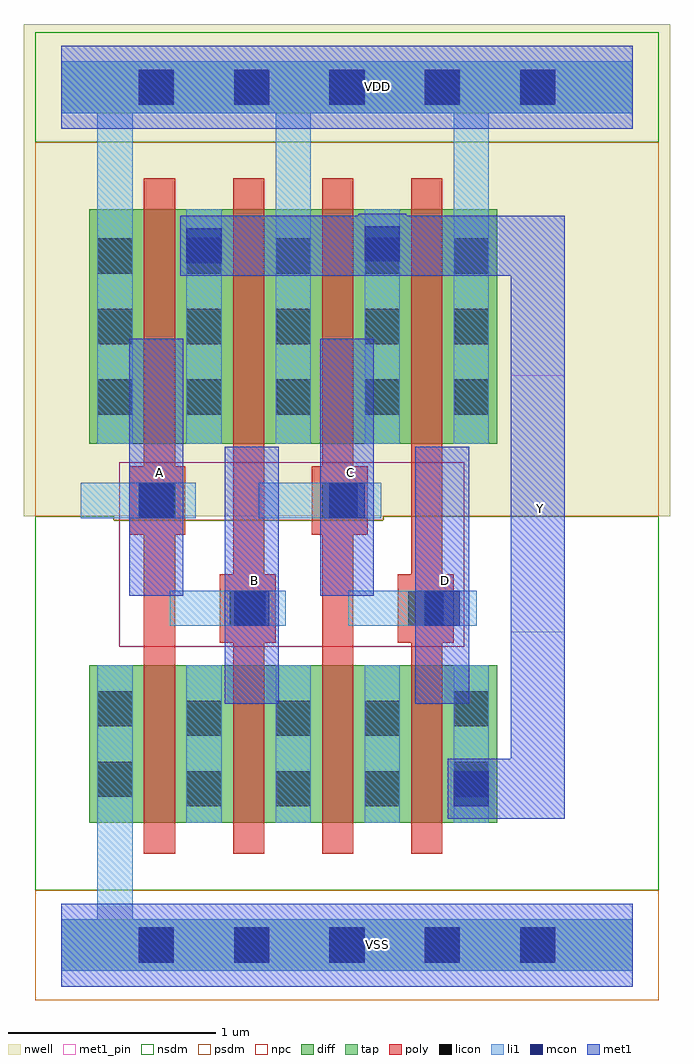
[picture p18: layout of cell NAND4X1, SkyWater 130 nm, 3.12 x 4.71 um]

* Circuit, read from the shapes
.subckt NAND4X1 A B C D VDD VSS Y
XM1 n1 A VSS VSS sky130_fd_pr__nfet_01v8 w=0.76 l=0.15
XM2 n2 B n1 VSS sky130_fd_pr__nfet_01v8 w=0.76 l=0.15
XM3 n3 C n2 VSS sky130_fd_pr__nfet_01v8 w=0.76 l=0.15
XM4 Y D n3 VSS sky130_fd_pr__nfet_01v8 w=0.76 l=0.15
XM5 Y A VDD VDD sky130_fd_pr__pfet_01v8 w=1.13 l=0.15
XM6 VDD B Y VDD sky130_fd_pr__pfet_01v8 w=1.13 l=0.15
XM7 Y C VDD VDD sky130_fd_pr__pfet_01v8 w=1.13 l=0.15
XM8 VDD D Y VDD sky130_fd_pr__pfet_01v8 w=1.13 l=0.15
.ends

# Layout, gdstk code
from math import pi, radians
import gdstk
lib = gdstk.Library(unit=1e-6, precision=1e-09)
def R(c, l, rs):  # rectangles x0, y0, x1, y1
    for r in rs: c.add(gdstk.rectangle(r[:2], r[2:], *l))
def A(c, l, x, y, w, h, nx, ny, dx, dy):  # array of equal rectangles
    R(c, l, [(x+i*dx, y+j*dy, x+i*dx+w, y+j*dy+h) for i in range(nx) for j in range(ny)])
def P(c, l, *ps):  # polygons
    for p in ps: c.add(gdstk.Polygon(p, *l))
nwell = (64, 20)
diff = (65, 20)
tap = (65, 44)
poly = (66, 20)
licon = (66, 44)
li1 = (67, 20)
mcon = (67, 44)
met1_pin = (68, 16)
met1 = (68, 20)
nsdm = (93, 44)
psdm = (94, 20)
npc = (95, 20)

pfet_01v8_cdns_716492285 = lib.new_cell('pfet_01v8_CDNS_71649228522145')
R(pfet_01v8_cdns_716492285, nwell, [(-0.445,-0.18,0.385,1.31)])
R(pfet_01v8_cdns_716492285, diff, [(-0.265,0,0,1.13), (0,0,0.15,1.13), (0.15,0,0.205,1.13)])
R(pfet_01v8_cdns_716492285, poly, [(0,-0.15,0.15,-0.095), (0,-0.095,0.15,0), (0,0,0.15,1.13), (0,1.13,0.15,1.225), (0,1.225,0.15,1.28)])
A(pfet_01v8_cdns_716492285, licon, -0.225, 0.14, 0.17, 0.17, 1, 3, 0, 0.34)
R(pfet_01v8_cdns_716492285, li1, [(-0.225,0,-0.055,1.13)])
R(pfet_01v8_cdns_716492285, psdm, [(-0.405,-0.13,0.215,1.26)])

nfet_01v8_cdns_716492285 = lib.new_cell('nfet_01v8_CDNS_71649228522146')
R(nfet_01v8_cdns_716492285, diff, [(-0.055,0,0,0.76), (0,0,0.15,0.76), (0.15,0,0.415,0.76)])
R(nfet_01v8_cdns_716492285, poly, [(0,-0.15,0.15,-0.095), (0,-0.095,0.15,0), (0,0,0.15,0.76), (0,0.76,0.15,0.855), (0,0.855,0.15,0.91)])
R(nfet_01v8_cdns_716492285, licon, [(0.205,0.125,0.375,0.295), (0.205,0.465,0.375,0.635)])
R(nfet_01v8_cdns_716492285, li1, [(0.205,0,0.375,0.76)])
R(nfet_01v8_cdns_716492285, nsdm, [(-0.065,-0.13,0.555,0.89)])

c_nfet_01v8_cdns_716492285 = lib.new_cell('nfet_01v8_CDNS_71649228522165')
R(c_nfet_01v8_cdns_716492285, diff, [(-0.265,0,0,0.76), (0,0,0.15,0.76), (0.15,0,0.375,0.76)])
R(c_nfet_01v8_cdns_716492285, poly, [(0,-0.15,0.15,-0.095), (0,-0.095,0.15,0), (0,0,0.15,0.76), (0,0.76,0.15,0.855), (0,0.855,0.15,0.91)])
R(c_nfet_01v8_cdns_716492285, licon, [(-0.225,0.125,-0.055,0.295), (-0.225,0.465,-0.055,0.635)])
R(c_nfet_01v8_cdns_716492285, li1, [(-0.225,0,-0.055,0.76)])
R(c_nfet_01v8_cdns_716492285, nsdm, [(-0.405,-0.13,0.385,0.89)])

c_pfet_01v8_cdns_716492285 = lib.new_cell('pfet_01v8_CDNS_71649228522166')
R(c_pfet_01v8_cdns_716492285, nwell, [(-0.405,-0.18,0.555,1.31)])
R(c_pfet_01v8_cdns_716492285, diff, [(-0.225,0,0,1.13), (0,0,0.15,1.13), (0.15,0,0.375,1.13)])
R(c_pfet_01v8_cdns_716492285, poly, [(0,-0.15,0.15,-0.095), (0,-0.095,0.15,0), (0,0,0.15,1.13), (0,1.13,0.15,1.225), (0,1.225,0.15,1.28)])
A(c_pfet_01v8_cdns_716492285, licon, -0.225, 0.14, 0.17, 0.17, 1, 3, 0, 0.34)
A(c_pfet_01v8_cdns_716492285, licon, 0.205, 0.14, 0.17, 0.17, 1, 3, 0, 0.34)
R(c_pfet_01v8_cdns_716492285, li1, [(-0.225,0,-0.055,1.13), (0.205,0,0.375,1.13)])
R(c_pfet_01v8_cdns_716492285, psdm, [(-0.235,-0.13,0.385,1.26)])

c_pfet_01v8_cdns_716492285_ = lib.new_cell('pfet_01v8_CDNS_7164922852270')
R(c_pfet_01v8_cdns_716492285_, nwell, [(-0.235,-0.18,0.385,1.31)])
R(c_pfet_01v8_cdns_716492285_, diff, [(-0.055,0,0,1.13), (0,0,0.15,1.13), (0.15,0,0.205,1.13)])
R(c_pfet_01v8_cdns_716492285_, poly, [(0,-0.15,0.15,-0.095), (0,-0.095,0.15,0), (0,0,0.15,1.13), (0,1.13,0.15,1.225), (0,1.225,0.15,1.28)])
R(c_pfet_01v8_cdns_716492285_, psdm, [(-0.065,-0.13,0.215,1.26)])

c_nfet_01v8_cdns_716492285_ = lib.new_cell('nfet_01v8_CDNS_71649228522152')
R(c_nfet_01v8_cdns_716492285_, diff, [(-0.055,0,0,0.76), (0,0,0.15,0.76), (0.15,0,0.375,0.76)])
R(c_nfet_01v8_cdns_716492285_, poly, [(0,-0.15,0.15,-0.095), (0,-0.095,0.15,0), (0,0,0.15,0.76), (0,0.76,0.15,0.855), (0,0.855,0.15,0.91)])
R(c_nfet_01v8_cdns_716492285_, nsdm, [(-0.065,-0.13,0.385,0.89)])

c_pfet_01v8_cdns_716492285__ = lib.new_cell('pfet_01v8_CDNS_7164922852274')
R(c_pfet_01v8_cdns_716492285__, nwell, [(-0.445,-0.18,0.555,1.31)])
R(c_pfet_01v8_cdns_716492285__, diff, [(-0.265,0,0,1.13), (0,0,0.15,1.13), (0.15,0,0.375,1.13)])
R(c_pfet_01v8_cdns_716492285__, poly, [(0,-0.15,0.15,-0.095), (0,-0.095,0.15,0), (0,0,0.15,1.13), (0,1.13,0.15,1.225), (0,1.225,0.15,1.28)])
A(c_pfet_01v8_cdns_716492285__, licon, -0.225, 0.14, 0.17, 0.17, 1, 3, 0, 0.34)
A(c_pfet_01v8_cdns_716492285__, licon, 0.205, 0.14, 0.17, 0.17, 1, 3, 0, 0.34)
R(c_pfet_01v8_cdns_716492285__, li1, [(-0.225,0,-0.055,1.13), (0.205,0,0.375,1.13)])
R(c_pfet_01v8_cdns_716492285__, psdm, [(-0.405,-0.13,0.385,1.26)])

l1m1_c_cdns_716492285222 = lib.new_cell('L1M1_C_CDNS_716492285222')
R(l1m1_c_cdns_716492285222, li1, [(-0.085,-0.165,0.085,0.165)])
R(l1m1_c_cdns_716492285222, mcon, [(-0.085,-0.085,0.085,0.085)])
R(l1m1_c_cdns_716492285222, met1, [(-0.115,-0.145,0.115,0.145)])

pyl1con_c_cdns_716492285 = lib.new_cell('PYL1CON_C_CDNS_716492285220')
R(pyl1con_c_cdns_716492285, poly, [(-0.135,-0.165,0.135,0.165)])
R(pyl1con_c_cdns_716492285, licon, [(-0.085,-0.085,0.085,0.085)])
R(pyl1con_c_cdns_716492285, npc, [(-0.185,-0.185,0.185,0.185)])

l1m1_c_cdns_716492285223 = lib.new_cell('L1M1_C_CDNS_716492285223')
R(l1m1_c_cdns_716492285223, li1, [(-0.165,-0.085,0.165,0.085)])
R(l1m1_c_cdns_716492285223, mcon, [(-0.085,-0.085,0.085,0.085)])
R(l1m1_c_cdns_716492285223, met1, [(-0.115,-0.145,0.115,0.145)])

nand4x1 = lib.new_cell('NAND4X1')
R(nand4x1, nwell, [(-0.18,2.07,2.94,4.305), (-0.18,3.875,2.94,4.445)])
A(nand4x1, licon, 0.375, -0.085, 0.17, 0.17, 5, 1, 0.46, 0)
A(nand4x1, licon, 0.605, 0.67, 0.17, 0.17, 3, 2, 0.43, 0.34)
R(nand4x1, licon, [(0.375,4.055,0.545,4.225), (0.375,4.055,0.545,4.225), (0.835,4.055,1.005,4.225), (0.835,4.055,1.005,4.225), (1.295,4.055,1.465,4.225), (1.295,4.055,1.465,4.225), (1.755,4.055,1.925,4.225), (1.755,4.055,1.925,4.225), (2.215,4.055,2.385,4.225), (2.215,4.055,2.385,4.225)])
A(nand4x1, li1, 0.605, 0.59, 0.17, 0.76, 3, 1, 0.43, 0)
A(nand4x1, mcon, 0.375, -0.085, 0.17, 0.17, 5, 1, 0.46, 0)
R(nand4x1, mcon, [(0.375,4.055,0.545,4.225), (0.375,4.055,0.545,4.225), (0.835,4.055,1.005,4.225), (0.835,4.055,1.005,4.225), (1.295,4.055,1.465,4.225), (1.295,4.055,1.465,4.225), (1.755,4.055,1.925,4.225), (1.755,4.055,1.925,4.225), (2.215,4.055,2.385,4.225), (2.215,4.055,2.385,4.225)])
R(nand4x1, met1_pin, [(0.79,1.165,1.05,2.405), (1.71,1.165,1.97,2.405), (2.17,1.51,2.43,2.75), (0.33,1.685,0.59,2.925), (1.25,1.685,1.51,2.925)])
R(nand4x1, nsdm, [(-0.125,3.875,2.885,4.405), (-0.125,3.875,2.885,4.405), (-0.125,3.93,2.885,4.35), (-0.125,3.93,2.885,4.35)])
P(nand4x1, nsdm, [(2.885,2.07),(1.555,2.07),(1.555,2.05),(0.255,2.05),(0.255,2.07),(-0.125,2.07),(-0.125,0.265),(2.885,0.265)])
R(nand4x1, psdm, [(-0.125,-0.265,2.885,0.265), (-0.125,-0.21,2.885,0.21)])
P(nand4x1, psdm, [(2.885,3.875),(-0.125,3.875),(-0.125,2.07),(0.255,2.07),(0.255,2.05),(1.555,2.05),(1.555,2.07),(2.885,2.07)])
R(nand4x1, npc, [(0.28,1.44,1.945,2.33)])
nand4x1.add(gdstk.FlexPath([(1.765,2.27),(1.765,1.5)], 0.15, ends="flush", simple_path=True, layer=66, datatype=20))  # poly
nand4x1.add(gdstk.FlexPath([(0.905,2.27),(0.905,1.475)], 0.15, ends="flush", simple_path=True, layer=66, datatype=20))  # poly
nand4x1.add(gdstk.FlexPath([(0.475,2.27),(0.475,1.48)], 0.15, ends="flush", simple_path=True, layer=66, datatype=20))  # poly
nand4x1.add(gdstk.FlexPath([(1.335,2.27),(1.335,1.43)], 0.15, ends="flush", simple_path=True, layer=66, datatype=20))  # poly
nand4x1.add(gdstk.FlexPath([(1.385,1.625),(1.94,1.625)], 0.17, ends="flush", simple_path=True, layer=67, datatype=20))  # li1
nand4x1.add(gdstk.FlexPath([(0.525,1.625),(1.08,1.625)], 0.17, ends="flush", simple_path=True, layer=67, datatype=20))  # li1
nand4x1.add(gdstk.FlexPath([(0.955,2.145),(1.51,2.145)], 0.17, ends="flush", simple_path=True, layer=67, datatype=20))  # li1
nand4x1.add(gdstk.FlexPath([(0.095,2.145),(0.65,2.145)], 0.17, ends="flush", simple_path=True, layer=67, datatype=20))  # li1
nand4x1.add(gdstk.FlexPath([(2.675,0),(0,0)], 0.25, ends=(0.085, 0), simple_path=True, layer=67, datatype=20))  # li1
nand4x1.add(gdstk.FlexPath([(2.675,4.14),(0,4.14)], 0.25, ends=(0.085, 0), simple_path=True, layer=67, datatype=20))  # li1
nand4x1.add(gdstk.FlexPath([(2.675,4.14),(0,4.14)], 0.25, ends=(0.085, 0), simple_path=True, layer=67, datatype=20))  # li1
nand4x1.add(gdstk.FlexPath([(0.26,0),(0.215,0)], 0.17, ends=(0.085, 0), simple_path=True, layer=67, datatype=20))  # li1
nand4x1.add(gdstk.FlexPath([(0.26,0.59),(0.26,0)], 0.17, ends=(0, 0.085), simple_path=True, layer=67, datatype=20))  # li1
nand4x1.add(gdstk.FlexPath([(1.98,4.14),(0.215,4.14)], 0.17, ends=(0.085, 0), simple_path=True, layer=67, datatype=20))  # li1
nand4x1.add(gdstk.FlexPath([(1.98,3.55),(1.98,4.14)], 0.17, ends=(0, 0.085), simple_path=True, layer=67, datatype=20))  # li1
nand4x1.add(gdstk.FlexPath([(1.12,4.14),(0.215,4.14)], 0.17, ends=(0.085, 0), simple_path=True, layer=67, datatype=20))  # li1
nand4x1.add(gdstk.FlexPath([(1.12,3.55),(1.12,4.14)], 0.17, ends=(0, 0.085), simple_path=True, layer=67, datatype=20))  # li1
nand4x1.add(gdstk.FlexPath([(0.26,4.14),(0.215,4.14)], 0.17, ends=(0.085, 0), simple_path=True, layer=67, datatype=20))  # li1
nand4x1.add(gdstk.FlexPath([(0.26,3.55),(0.26,4.14)], 0.17, ends=(0, 0.085), simple_path=True, layer=67, datatype=20))  # li1
nand4x1.add(gdstk.FlexPath([(0,4.14),(2.76,4.14)], 0.25, ends="flush", simple_path=True, layer=65, datatype=44))  # tap
nand4x1.add(gdstk.FlexPath([(0,0),(2.76,0)], 0.25, ends="flush", simple_path=True, layer=65, datatype=44))  # tap
nand4x1.add(gdstk.FlexPath([(0,4.14),(2.76,4.14)], 0.25, ends="flush", simple_path=True, layer=65, datatype=44))  # tap
nand4x1.add(gdstk.FlexPath([(1.38,1.685),(1.38,2.925)], 0.26, ends="flush", simple_path=True, layer=68, datatype=20))  # met1
nand4x1.add(gdstk.FlexPath([(0.92,1.165),(0.92,2.405)], 0.26, ends="flush", simple_path=True, layer=68, datatype=20))  # met1
nand4x1.add(gdstk.FlexPath([(0.46,1.685),(0.46,2.925)], 0.26, ends="flush", simple_path=True, layer=68, datatype=20))  # met1
nand4x1.add(gdstk.FlexPath([(2.3,0.61),(2.3,3.52)], 0.26, ends="flush", simple_path=True, layer=68, datatype=20))  # met1
nand4x1.add(gdstk.FlexPath([(2.3,3.375),(0.69,3.375)], 0.29, ends="flush", simple_path=True, layer=68, datatype=20))  # met1
nand4x1.add(gdstk.FlexPath([(1.84,1.165),(1.84,2.405)], 0.26, ends="flush", simple_path=True, layer=68, datatype=20))  # met1
nand4x1.add(gdstk.FlexPath([(2.3,0.755),(1.98,0.755)], 0.29, ends="flush", simple_path=True, layer=68, datatype=20))  # met1
nand4x1.add(gdstk.FlexPath([(0,0),(2.76,0)], 0.4, ends="flush", simple_path=True, layer=68, datatype=20))  # met1
nand4x1.add(gdstk.FlexPath([(0,4.14),(2.76,4.14)], 0.4, ends="flush", simple_path=True, layer=68, datatype=20))  # met1
nand4x1.add(gdstk.FlexPath([(0,4.14),(2.76,4.14)], 0.4, ends="flush", simple_path=True, layer=68, datatype=16))  # met1_pin
nand4x1.add(gdstk.FlexPath([(0,4.14),(2.76,4.14)], 0.4, ends="flush", simple_path=True, layer=68, datatype=16))  # met1_pin
nand4x1.add(gdstk.FlexPath([(0,0),(2.76,0)], 0.4, ends="flush", simple_path=True, layer=68, datatype=16))  # met1_pin
nand4x1.add(gdstk.Reference(pfet_01v8_cdns_716492285, (1.84,2.42), rotation=pi, x_reflection=True))
nand4x1.add(gdstk.Reference(nfet_01v8_cdns_716492285, (1.69,0.59)))
nand4x1.add(gdstk.Reference(c_nfet_01v8_cdns_716492285, (0.4,0.59)))
nand4x1.add(gdstk.Reference(c_pfet_01v8_cdns_716492285, (1.26,2.42)))
nand4x1.add(gdstk.Reference(c_pfet_01v8_cdns_716492285_, (0.98,2.42), rotation=pi, x_reflection=True))
nand4x1.add(gdstk.Reference(c_nfet_01v8_cdns_716492285_, (1.26,0.59)))
nand4x1.add(gdstk.Reference(c_nfet_01v8_cdns_716492285_, (0.83,0.59)))
nand4x1.add(gdstk.Reference(c_pfet_01v8_cdns_716492285__, (0.4,2.42)))
nand4x1.add(gdstk.Reference(l1m1_c_cdns_716492285222, (1.98,0.755)))
nand4x1.add(gdstk.Reference(l1m1_c_cdns_716492285222, (1.55,3.385)))
nand4x1.add(gdstk.Reference(l1m1_c_cdns_716492285222, (0.69,3.375)))
nand4x1.add(gdstk.Reference(pyl1con_c_cdns_716492285, (1.76,1.625)))
nand4x1.add(gdstk.Reference(pyl1con_c_cdns_716492285, (1.345,2.145)))
nand4x1.add(gdstk.Reference(pyl1con_c_cdns_716492285, (0.9,1.625)))
nand4x1.add(gdstk.Reference(pyl1con_c_cdns_716492285, (0.465,2.145), rotation=pi, x_reflection=True))
nand4x1.add(gdstk.Reference(l1m1_c_cdns_716492285223, (1.84,1.625), x_reflection=True))
nand4x1.add(gdstk.Reference(l1m1_c_cdns_716492285223, (1.38,2.145), x_reflection=True))
nand4x1.add(gdstk.Reference(l1m1_c_cdns_716492285223, (0.92,1.625), x_reflection=True))
nand4x1.add(gdstk.Reference(l1m1_c_cdns_716492285223, (0.46,2.145), x_reflection=True))
nand4x1.add(gdstk.Label('VSS', (1.525,0.005), layer=68, texttype=5))
nand4x1.add(gdstk.Label('VDD', (1.525,4.145), layer=68, texttype=5))
nand4x1.add(gdstk.Label('VDD', (1.525,4.145), layer=68, texttype=5))
nand4x1.add(gdstk.Label('Y', (2.315,2.105), layer=68, texttype=5))
nand4x1.add(gdstk.Label('A', (0.475,2.28), layer=68, texttype=5))
nand4x1.add(gdstk.Label('C', (1.395,2.28), layer=68, texttype=5))
nand4x1.add(gdstk.Label('B', (0.935,1.76), layer=68, texttype=5))
nand4x1.add(gdstk.Label('D', (1.855,1.76), layer=68, texttype=5))

lib.write_gds('NAND4X1.gds')
